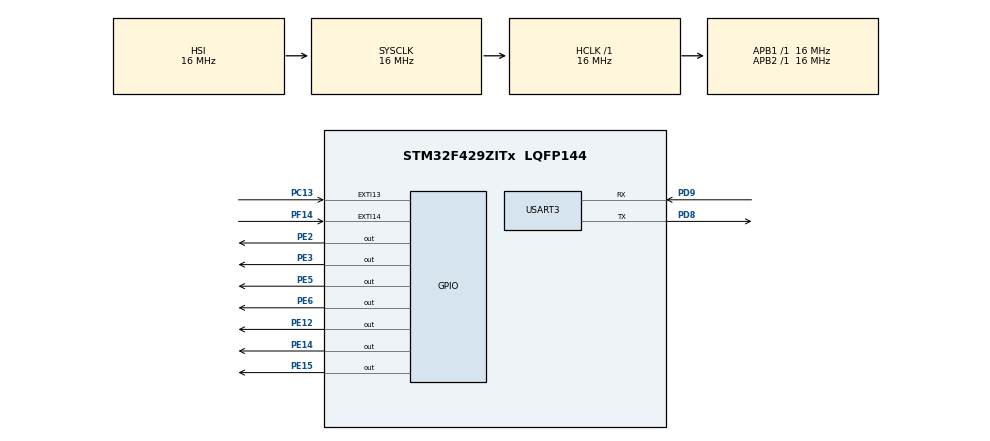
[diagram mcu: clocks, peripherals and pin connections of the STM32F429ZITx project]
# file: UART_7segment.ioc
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Mcu.Family=STM32F4
Mcu.Name=STM32F429ZITx
Mcu.Package=LQFP144
NVIC.EXTI15_10_IRQn=true\:0\:0\:false\:true\:true\:2\:true\:true\:true
NVIC.PriorityGroup=NVIC_PRIORITYGROUP_4
NVIC.USART3_IRQn=true\:0\:0\:false\:true\:true\:1\:true\:true\:true
PC13.GPIO_PuPd=GPIO_PULLDOWN
PC13.Signal=GPXTI13
PC14/OSC32_IN.Mode=LSE-External-Oscillator
PC14/OSC32_IN.Signal=RCC_OSC32_IN
PC15/OSC32_OUT.Mode=LSE-External-Oscillator
PC15/OSC32_OUT.Signal=RCC_OSC32_OUT
PD8.Mode=Asynchronous
PD8.Signal=USART3_TX
PD9.Mode=Asynchronous
PD9.Signal=USART3_RX
PE12.GPIO_PuPd=GPIO_PULLUP
PE12.Signal=GPIO_Output
PE14.GPIO_PuPd=GPIO_PULLUP
PE14.Signal=GPIO_Output
PE15.GPIO_PuPd=GPIO_PULLUP
PE15.Signal=GPIO_Output
PE2.GPIO_PuPd=GPIO_PULLUP
PE2.Signal=GPIO_Output
PE3.GPIO_PuPd=GPIO_PULLUP
PE3.Signal=GPIO_Output
PE5.GPIO_PuPd=GPIO_PULLUP
PE5.Signal=GPIO_Output
PE6.GPIO_PuPd=GPIO_PULLUP
PE6.Signal=GPIO_Output
PF14.Signal=GPXTI14
PH0/OSC_IN.Mode=HSE-External-Clock-Source
PH0/OSC_IN.Signal=RCC_OSC_IN
PH1/OSC_OUT.Mode=HSE-External-Clock-Source
PH1/OSC_OUT.Signal=RCC_OSC_OUT
ProjectManager.HeapSize=0x200
ProjectManager.StackSize=0x400
ProjectManager.TargetToolchain=STM32CubeIDE
RCC.AHBFreq_Value=16000000
RCC.APB1Freq_Value=16000000
RCC.APB2Freq_Value=16000000
RCC.CortexFreq_Value=16000000
RCC.HSE_VALUE=25000000
RCC.HSI_VALUE=16000000
RCC.SYSCLKFreq_VALUE=16000000
RCC.VCOOutputFreq_Value=192000000
USART3.VirtualMode=VM_ASYNC
board=custom

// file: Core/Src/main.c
/* USER CODE BEGIN Header */
/**
  ******************************************************************************
  * @file           : main.c
  * @brief          : Main program body
  ******************************************************************************
  * @attention
  *
  * Copyright (c) 2023 STMicroelectronics.
  * All rights reserved.
  *
  * This software is licensed under terms that can be found in the LICENSE file
  * in the root directory of this software component.
  * If no LICENSE file comes with this software, it is provided AS-IS.
  *
  ******************************************************************************
  */
/* USER CODE END Header */
#include "main.h"
#include "string.h"
#include "stdio.h"
#include "stdlib.h"

UART_HandleTypeDef huart3;

/* USER CODE BEGIN PV */
//printf를 사용하기 위해 _write() 함수를 재정의함.
int _write(int file, char *ptr, int len)
{
	HAL_UART_Transmit(&huart3, (uint8_t *)ptr, len, 500); //문자열을 보내는 것. 문자열의 주소를 받아서 문자열의 길이까지 같이 들어옴.

	return len;
}
int __io_putchar(int ch)
{
	HAL_UART_Transmit(&huart3, (uint8_t *)&ch, 1, 1000); //문자 하나를 보내는 것.
	return ch;
}

//scanf를 사용하기 위해 _read재정의
int _read(int file, char *ptr, int len)
{
	HAL_UART_Receive(&huart3, (unsigned char*)ptr, len, HAL_MAX_DELAY);
	return len;
}
int __io_getchar(void)
{
	uint8_t ch = 0;
	HAL_UART_Receive(&huart3, (uint8_t *)&ch, 1, HAL_MAX_DELAY);
	return ch;
}
/* USER CODE END PV */

void SystemClock_Config(void);
static void MX_GPIO_Init(void);
static void MX_USART3_UART_Init(void);
static void MX_NVIC_Init(void);

/* USER CODE BEGIN 0 */
//segment 핀 번호 설정
uint16_t a = GPIO_PIN_2;
uint16_t b = GPIO_PIN_12;
uint16_t c = GPIO_PIN_5;
uint16_t d = GPIO_PIN_6;
uint16_t e = GPIO_PIN_3;
uint16_t f = GPIO_PIN_14;
uint16_t g = GPIO_PIN_15;

char fnd[10][7] = {
{0,0,0,0,0,0,1}, // 0
{1,0,0,1,1,1,1}, // 1
{0,0,1,0,0,1,0}, // 2
{0,0,0,0,1,1,0}, // 3
{1,0,0,1,1,0,0}, // 4
{0,1,0,0,1,0,0}, // 5
{0,1,0,0,0,0,0}, // 6
{0,0,0,1,1,0,1}, // 7
{0,0,0,0,0,0,0}, // 8
{0,0,0,0,1,0,0}  // 9
};

int cnt = 0;
/* USER CODE END 0 */

int main(void)
{

  /* MCU Configuration--------------------------------------------------------*/

  /* Reset of all peripherals, Initializes the Flash interface and the Systick. */
  HAL_Init();

  /* Configure the system clock */
  SystemClock_Config();

  /* Initialize all configured peripherals */
  MX_GPIO_Init();
  MX_USART3_UART_Init();

  /* Initialize interrupts */
  MX_NVIC_Init();

//  HAL_UART_Receive_IT(&huart3, (uint8_t *)&cnt, 1); //UART 인터럽트 활성화를 메인에서 한번 해야함.
  /* USER CODE BEGIN 2 */
  //scanf를 사용하기 위해 버퍼를 만들어 주고, standard input/output header를 include 해주어야 한다. #include "stdio.h"
  char str[30];
  setvbuf(stdin, NULL, _IONBF, 0);
  setvbuf(stdout, NULL, _IONBF, 0);
  /* USER CODE END 2 */
  /* Infinite loop */
  while (1)
  {
	  //키보드로 문자를 입력하면 실행하고, 그 값 1바이트를 cnt에 저장하기
	  //폴링방식으로 timeout 시간 만큼 기다렸다가 버퍼가 차면
	  if(HAL_UART_Receive(&huart3, (uint8_t *)&cnt, 1, 3000) == HAL_OK)
	  {
		  if(cnt >= 48 && cnt <= 57 ) cnt -= 48;
		  else cnt = 0;
//		  cnt = atoi(str);
	  }

	  HAL_GPIO_WritePin(GPIOE, a, fnd[cnt][0]);
	  HAL_GPIO_WritePin(GPIOE, b, fnd[cnt][1]);
	  HAL_GPIO_WritePin(GPIOE, c, fnd[cnt][2]);
	  HAL_GPIO_WritePin(GPIOE, d, fnd[cnt][3]);
	  HAL_GPIO_WritePin(GPIOE, e, fnd[cnt][4]);
	  HAL_GPIO_WritePin(GPIOE, f, fnd[cnt][5]);
	  HAL_GPIO_WritePin(GPIOE, g, fnd[cnt][6]);
//	  HAL_UART_Transmit(&huart3, (uint8_t *)&cnt, 1, 1000);
	  printf("count : %d\r\n", cnt);
	  HAL_Delay(300);
  }
}

void SystemClock_Config(void)
{
  RCC_OscInitTypeDef RCC_OscInitStruct = {0};
  RCC_ClkInitTypeDef RCC_ClkInitStruct = {0};

  /** Configure the main internal regulator output voltage
  */
  __HAL_RCC_PWR_CLK_ENABLE();
  __HAL_PWR_VOLTAGESCALING_CONFIG(PWR_REGULATOR_VOLTAGE_SCALE3);

  /** Initializes the RCC Oscillators according to the specified parameters
  * in the RCC_OscInitTypeDef structure.
  */
  RCC_OscInitStruct.OscillatorType = RCC_OSCILLATORTYPE_HSI;
  RCC_OscInitStruct.HSIState = RCC_HSI_ON;
  RCC_OscInitStruct.HSICalibrationValue = RCC_HSICALIBRATION_DEFAULT;
  RCC_OscInitStruct.PLL.PLLState = RCC_PLL_NONE;
  if (HAL_RCC_OscConfig(&RCC_OscInitStruct) != HAL_OK)
  {
    Error_Handler();
  }

  /** Initializes the CPU, AHB and APB buses clocks
  */
  RCC_ClkInitStruct.ClockType = RCC_CLOCKTYPE_HCLK|RCC_CLOCKTYPE_SYSCLK
                              |RCC_CLOCKTYPE_PCLK1|RCC_CLOCKTYPE_PCLK2;
  RCC_ClkInitStruct.SYSCLKSource = RCC_SYSCLKSOURCE_HSI;
  RCC_ClkInitStruct.AHBCLKDivider = RCC_SYSCLK_DIV1;
  RCC_ClkInitStruct.APB1CLKDivider = RCC_HCLK_DIV1;
  RCC_ClkInitStruct.APB2CLKDivider = RCC_HCLK_DIV1;

  if (HAL_RCC_ClockConfig(&RCC_ClkInitStruct, FLASH_LATENCY_0) != HAL_OK)
  {
    Error_Handler();
  }
}

/**
  * @brief NVIC Configuration.2
  * @retval None
  */
static void MX_NVIC_Init(void)
{
  /* USART3_IRQn interrupt configuration */
  HAL_NVIC_SetPriority(USART3_IRQn, 0, 0);
  HAL_NVIC_EnableIRQ(USART3_IRQn);
  /* EXTI15_10_IRQn interrupt configuration */
  HAL_NVIC_SetPriority(EXTI15_10_IRQn, 0, 0);
  HAL_NVIC_EnableIRQ(EXTI15_10_IRQn);
}

static void MX_USART3_UART_Init(void)
{

  huart3.Instance = USART3;
  huart3.Init.BaudRate = 115200;
  huart3.Init.WordLength = UART_WORDLENGTH_8B;
  huart3.Init.StopBits = UART_STOPBITS_1;
  huart3.Init.Parity = UART_PARITY_NONE;
  huart3.Init.Mode = UART_MODE_TX_RX;
  huart3.Init.HwFlowCtl = UART_HWCONTROL_NONE;
  huart3.Init.OverSampling = UART_OVERSAMPLING_16;
  if (HAL_UART_Init(&huart3) != HAL_OK)
  {
    Error_Handler();
  }

}

static void MX_GPIO_Init(void)
{
  GPIO_InitTypeDef GPIO_InitStruct = {0};

  /* GPIO Ports Clock Enable */
  __HAL_RCC_GPIOE_CLK_ENABLE();
  __HAL_RCC_GPIOC_CLK_ENABLE();
  __HAL_RCC_GPIOH_CLK_ENABLE();
  __HAL_RCC_GPIOF_CLK_ENABLE();
  __HAL_RCC_GPIOD_CLK_ENABLE();

  /*Configure GPIO pin Output Level */
  HAL_GPIO_WritePin(GPIOE, GPIO_PIN_2|GPIO_PIN_3|GPIO_PIN_5|GPIO_PIN_6
                          |GPIO_PIN_12|GPIO_PIN_14|GPIO_PIN_15, GPIO_PIN_RESET);

  /*Configure GPIO pins : PE2 PE3 PE5 PE6
                           PE12 PE14 PE15 */
  GPIO_InitStruct.Pin = GPIO_PIN_2|GPIO_PIN_3|GPIO_PIN_5|GPIO_PIN_6
                          |GPIO_PIN_12|GPIO_PIN_14|GPIO_PIN_15;
  GPIO_InitStruct.Mode = GPIO_MODE_OUTPUT_PP;
  GPIO_InitStruct.Pull = GPIO_PULLUP;
  GPIO_InitStruct.Speed = GPIO_SPEED_FREQ_LOW;
  HAL_GPIO_Init(GPIOE, &GPIO_InitStruct);

  /*Configure GPIO pin : PC13 */
  GPIO_InitStruct.Pin = GPIO_PIN_13; //down btn
  GPIO_InitStruct.Mode = GPIO_MODE_IT_RISING;
  GPIO_InitStruct.Pull = GPIO_PULLDOWN;
  HAL_GPIO_Init(GPIOC, &GPIO_InitStruct);

  /*Configure GPIO pin : PF14 */
  GPIO_InitStruct.Pin = GPIO_PIN_14; //up btn
  GPIO_InitStruct.Mode = GPIO_MODE_IT_RISING;
  GPIO_InitStruct.Pull = GPIO_PULLDOWN;
  HAL_GPIO_Init(GPIOF, &GPIO_InitStruct);

}

void HAL_UART_RxCpltCallback(UART_HandleTypeDef *huart)
{
	if(huart -> Instance == USART3)
	{
//		printf("UART콜백 호출");
//		HAL_UART_Receive(&huart3, (uint8_t *)&cnt, 1, 1000);
		HAL_UART_Receive_IT(&huart3, (uint8_t *)&cnt, 1); //cnt는 1바이트짜리 변수임을 말한다.
		if(cnt >= 48 && cnt <= 57 ) cnt -= 48;
		else cnt = 0;
		HAL_UART_Transmit(&huart3, (uint8_t *)&cnt, 1, 500);
//		if(HAL_UART_Receive(&huart3, (uint8_t *)&cnt, 1, 1000) == HAL_OK)
//	  {
//		  if(cnt >= 48 && cnt <= 57 ) cnt -= 48;
//		  else cnt = 0;
////		  cnt = atoi(str);
//	  }
	}
}

/* USER CODE BEGIN 4 */
//채터링을 제어하기 위한 변수
uint32_t start = 0;

//interrupt가 발생하면 실행되는 콜백함수. 재정의하여 사용함. 외부 인터럽트는 핀의 개수인 16개까지만 사용 가능. 각 핀마다 하나씩 작동함.
void HAL_GPIO_EXTI_Callback(uint16_t GPIO_Pin)
{
	//HAL_GetTick()은 프로그램이 실행되고 흐른 시간을 millisecond로 반환한다.
	//인터럽트가 발생하면 그 시간을 저장.
	uint32_t currentTime = HAL_GetTick();

	if(GPIO_Pin == GPIO_PIN_14) //UP Button
	{
		if(currentTime - start > 500) { //채터링에 의해 인터럽트가 발생하더라도 그 시간의 차이가 500ms보다 클때만 실행이 되도록 하여 채터링을 조절함.
			cnt++;
			start = currentTime;	//start 시간을 인터럽트가 발생한 시간으로 초기화해준다.
		}
		if(cnt > 9) cnt = 0;
	}
	if(GPIO_Pin == GPIO_PIN_13) //Down Button
	{
		if(currentTime - start > 500) {
			cnt--;
			start = currentTime;
		}
		if(cnt < 0) cnt = 9;
	}
}
/* USER CODE END 4 */

void Error_Handler(void)
{
  __disable_irq();
  while (1)
  {
  }
}
